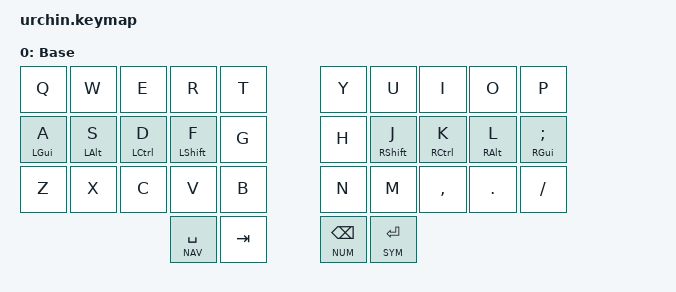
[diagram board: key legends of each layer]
/*
 * Copyright (c) 2024 alexandru0-dev
 *
 * SPDX-License-Identifier: MIT
 */

#include <behaviors.dtsi>
#include <dt-bindings/zmk/keys.h>
#include <dt-bindings/zmk/bt.h>
#include <dt-bindings/zmk/outputs.h>

#include "zmk-helpers/helper.h"

#include "zmk-helpers/key-labels/34.h"                                      // key-position labels
#define KEYS_L LT0 LT1 LT2 LT3 LT4 LM0 LM1 LM2 LM3 LM4 LB0 LB1 LB2 LB3 LB4  // left-hand keys
#define KEYS_R RT0 RT1 RT2 RT3 RT4 RM0 RM1 RM2 RM3 RM4 RB0 RB1 RB2 RB3 RB4  // right-hand keys
#define THUMBS LH1 LH0 RH0 RH1												// thumb keys

/*                KEY POSITIONS

  ╭─────────────────────╮ ╭─────────────────────╮
  │ LT4 LT3 LT2 LT1 LT0 │ │ RT0 RT1 RT2 RT3 RT4 │
  │ LM4 LM3 LM2 LM1 LM0 │ │ RM0 RM1 RM2 RM3 RM4 │
  │ LB4 LB3 LB2 LB1 LB0 │ │ RB0 RB1 RB2 RB3 RB4 │
  ╰───────────╮ LH1 LH0 │ │ RH0 RH1 ╭───────────╯
              ╰─────────╯ ╰─────────╯ */

// Layer definitions
#define BASE    0
#define NUM     1
#define SYM     2
#define NAV     3
#define SYS     4
// -----------------

#define ___     &trans
#define XXX     &none

/* left-hand HRMs */
ZMK_HOLD_TAP(lhm,
    flavor = "balanced";
    tapping-term-ms = <280>;
    quick-tap-ms = <175>;                // repeat on tap-into-hold
    require-prior-idle-ms = <150>;
    bindings = <&kp>, <&kp>;
    hold-trigger-key-positions = <KEYS_R THUMBS>;
    hold-trigger-on-release;             // delay positional check until key-release
)

/* right-hand HRMs */
ZMK_HOLD_TAP(rhm,
    flavor = "balanced";
    tapping-term-ms = <280>;
    quick-tap-ms = <175>;                // repeat on tap-into-hold
    require-prior-idle-ms = <150>;
    bindings = <&kp>, <&kp>;
    hold-trigger-key-positions = <KEYS_L THUMBS>;
    hold-trigger-on-release;             // delay positional check until key-release
)

&lt {
    tapping-term-ms = <200>;
    quick-tap-ms = <175>;
};

/ {

	behaviors {
        combos {
            compatible = "zmk,combos";
            combo_esc {
                timeout-ms = <50>;
                require-prior-idle-ms = <150>;
                key-positions = <LT2 LT3>;
                bindings = <&kp ESC>;
                layers = <BASE>;
            };
            combo_sys {
                timeout-ms = <50>;
                key-positions = <RH0 RH1>;
                bindings = <&mo SYS>;
            };
            combo_tab {
                timeout-ms = <50>;
                require-prior-idle-ms = <150>;
                key-positions = <LB3 LB2>;
                bindings = <&kp TAB>;
                layers = <BASE>;
            };
        };
	};

	keymap {
		compatible = "zmk,keymap";
		// Base alpha layer
		default_layer {
			label = "Base";
			bindings = <
			&kp Q           &kp W           &kp E			&kp R           &kp T           &kp Y	        &kp U           &kp I					&kp O           &kp P
			&lhm LGUI A	    &lhm LALT S     &lhm LCTRL D	&lhm LSHIFT F   &kp G           &kp H	        &rhm RSHIFT J   &rhm RCTRL K		    &rhm RALT L     &rhm RGUI SEMI
			&kp Z           &kp X           &kp C			&kp V           &kp B           &kp N	        &kp M           &kp COMMA			    &kp DOT         &kp SLASH
                                                            &lt NAV SPACE	&kp TAB			&lt NUM BACKSPACE &lt SYM RETURN
			>;
		};
  };
};

ZMK_LAYER(num,
// ╭─────────────┬─────────────┬─────────────┬─────────────┬─────────────╮ ╭─────────────┬─────────────┬─────────────┬─────────────┬─────────────╮
     ___           &kp N1        &kp N2        &kp N3        ___             ___           ___           ___           ___           ___
// ├─────────────┼─────────────┼─────────────┼─────────────┼─────────────┤ ├─────────────┼─────────────┼─────────────┼─────────────┼─────────────┤
     &kp N0        &kp N4        &kp N5        &kp N6        ___             &kp UNDER     &kp MINUS     &kp EQUAL     &kp PLUS      ___
// ├─────────────┼─────────────┼─────────────┼─────────────┼─────────────┤ ├─────────────┼─────────────┼─────────────┼─────────────┼─────────────┤
     ___           &kp N7        &kp N8        &kp N9        ___             ___           ___           ___           ___           ___
// ╰─────────────┼─────────────┴─────────────┼─────────────┼─────────────┤ ├─────────────┼─────────────┼─────────────┴───────────────────────────╯
                                               ___           ___             ___           ___
//                                           ╰─────────────┴─────────────╯ ╰─────────────┴─────────────╯
)

ZMK_LAYER(sym,
// ╭─────────────┬─────────────┬─────────────┬─────────────┬─────────────╮ ╭─────────────┬─────────────┬─────────────┬─────────────┬─────────────╮
     &kp EXCL      &kp AT        &kp HASH      &kp DLLR      &kp PRCNT       &kp CARET     &kp AMPS      &kp ASTRK     &kp LPAR      &kp RPAR
// ├─────────────┼─────────────┼─────────────┼─────────────┼─────────────┤ ├─────────────┼─────────────┼─────────────┼─────────────┼─────────────┤
     ___           ___           ___           ___           ___             &kp MINUS     &kp EQUAL     &kp LBKT      &kp RBKT      &kp BSLH
// ├─────────────┼─────────────┼─────────────┼─────────────┼─────────────┤ ├─────────────┼─────────────┼─────────────┼─────────────┼─────────────┤
     ___           ___           ___           ___           ___             &kp UNDER     &kp PLUS      &kp LBRC      &kp RBRC      &kp PIPE
// ╰─────────────┼─────────────┴─────────────┼─────────────┼─────────────┤ ├─────────────┼─────────────┼─────────────┴───────────────────────────╯
                                               ___           ___             ___           ___
//                                           ╰─────────────┴─────────────╯ ╰─────────────┴─────────────╯
)

ZMK_LAYER(nav,
// ╭─────────────┬─────────────┬─────────────┬─────────────┬─────────────╮ ╭─────────────┬─────────────┬─────────────┬─────────────┬─────────────╮
     ___           ___           ___           ___           ___             &kp HOME      &kp PG_DN     &kp PG_UP     &kp END       ___
// ├─────────────┼─────────────┼─────────────┼─────────────┼─────────────┤ ├─────────────┼─────────────┼─────────────┼─────────────┼─────────────┤
     ___           ___           &kp BACKSPACE &kp DELETE    ___             &kp LEFT      &kp DOWN      &kp UP        &kp RIGHT     ___
// ├─────────────┼─────────────┼─────────────┼─────────────┼─────────────┤ ├─────────────┼─────────────┼─────────────┼─────────────┼─────────────┤
     ___           ___           ___           ___           ___             ___           ___           ___           ___           ___
// ╰─────────────┼─────────────┴─────────────┼─────────────┼─────────────┤ ├─────────────┼─────────────┼─────────────┴───────────────────────────╯
                                               ___           ___             ___           ___
//                                           ╰─────────────┴─────────────╯ ╰─────────────┴─────────────╯
)

ZMK_LAYER(sys,
// ╭─────────────┬─────────────┬─────────────┬─────────────┬─────────────╮ ╭─────────────┬─────────────┬─────────────┬─────────────┬─────────────╮
     ___          &bt BT_SEL 1   &bt BT_SEL 2  &bt BT_SEL 3  ___             ___           ___           ___           ___           ___
// ├─────────────┼─────────────┼─────────────┼─────────────┼─────────────┤ ├─────────────┼─────────────┼─────────────┼─────────────┼─────────────┤
    &bt BT_SEL 0  &bt BT_SEL 4   ___           ___           ___             ___           ___           ___           ___           ___
// ├─────────────┼─────────────┼─────────────┼─────────────┼─────────────┤ ├─────────────┼─────────────┼─────────────┼─────────────┼─────────────┤
     ___           ___           &bt BT_CLR    ___           ___             ___           ___           ___           ___           ___
// ╰─────────────┼─────────────┴─────────────┼─────────────┼─────────────┤ ├─────────────┼─────────────┼─────────────┴───────────────────────────╯
                                               &bt BT_PRV    &bt BT_NXT      ___           ___
//                                           ╰─────────────┴─────────────╯ ╰─────────────┴─────────────╯
)
